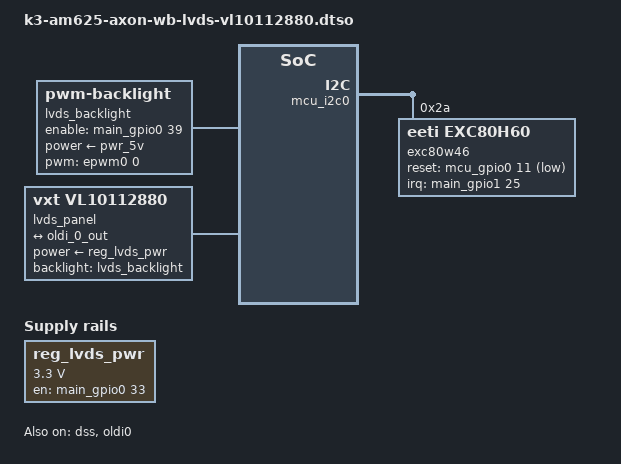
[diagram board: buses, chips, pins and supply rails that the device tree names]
// SPDX-License-Identifier: GPL-2.0-only OR MIT
/*
 * Copyright (C) 2024 TechNexion Ltd.
 *
 * Author: Ray Chang <ray.chang@technexion.com>
 *
 */

/dts-v1/;
/plugin/;

#include <dt-bindings/gpio/gpio.h>
#include <dt-bindings/interrupt-controller/irq.h>

&{/} {
	reg_lvds_pwr: regulator_lvdspwr {
		compatible = "regulator-fixed";
		pinctrl-names = "default";
		pinctrl-0 = <&lvds_pwr_pins_default>;
		regulator-name = "LVDS_VLED_EN";
		regulator-min-microvolt = <3300000>;
		regulator-max-microvolt = <3300000>;
		gpio = <&main_gpio0 33 GPIO_ACTIVE_HIGH>; /* LVDS0_VDDEN, GPIO_X4_P8 */
		enable-active-high;
	};

	lvds_backlight: lvds_backlight {
		compatible = "pwm-backlight";
		pinctrl-names = "default";
		pinctrl-0 = <&lvds_backlight_pwr_pins_default>;
		enable-gpios = <&main_gpio0 39 GPIO_ACTIVE_HIGH>; /* LVDS0_BL_EN, GPIO_X4_P7 */
		power-supply = <&pwr_5v>;
		pwms = <&epwm0 0 50000 0>;
		brightness-levels = <7 255>;
		num-interpolated-steps = <248>;
		default-brightness-level = <100>;
	};

	lvds_panel {
		compatible = "vxt,vl10112880", "panel-lvds";
		backlight = <&lvds_backlight>;
		power-supply = <&reg_lvds_pwr>;

		data-mapping = "vesa-24";
		height-mm = <135>;
		width-mm = <216>;

		panel-timing {
			clock-frequency = <68500000>;
			hactive = <1280>;
			vactive = <800>;
			hback-porch = <40>;
			hfront-porch = <40>;
			vback-porch = <10>;
			vfront-porch = <3>;
			hsync-len = <80>;
			vsync-len = <10>;
		};

		ports {
			#address-cells = <1>;
			#size-cells = <0>;

			port@0 {
				reg = <0>;
				lcd_in0: endpoint {
					remote-endpoint = <&oldi_0_out>;
				};
			};
		};
	};
};

&dss {
	pinctrl-names = "default";
	pinctrl-0 = <&main_oldi0_pins_default>;
	status = "okay";
};

&oldi0 {
	status = "okay";
};

&oldi0_ports {
	#address-cells = <1>;
	#size-cells = <0>;

	port@0 {
		reg = <0>;
		oldi_0_in: endpoint {
			remote-endpoint = <&dpi0_out0>;
		};
	};

	port@1 {
		reg = <1>;
		oldi_0_out: endpoint {
			remote-endpoint = <&lcd_in0>;
		};
	};
};

&dss_ports {
	#address-cells = <1>;
	#size-cells = <0>;

	/* VP1: Output to OLDI */
	port@0 {
		reg = <0>;
		#address-cells = <1>;
		#size-cells = <0>;

		dpi0_out0: endpoint@0 {
			reg = <0>;
			remote-endpoint = <&oldi_0_in>;
		};
	};
};

/* I2C_C */
&mcu_i2c0 {
	#address-cells = <1>;
	#size-cells = <0>;

	exc80w46: touchscreen@2a {
		compatible = "eeti,exc80h60";
		reg = <0x2a>;
		pinctrl-names = "default";
		pinctrl-0 = <&touch_intr_pins_default &touch_nrst_pins_default>;
		reset-gpios = <&mcu_gpio0 11 GPIO_ACTIVE_LOW>; /* TOUCH_nRST, GPIO_X2_P20 */
		interrupt-parent = <&main_gpio1>; /* TOUCH_nINT, GPIO_X2_P24 */
		interrupts = <25 IRQ_TYPE_EDGE_FALLING>;
	};
};
